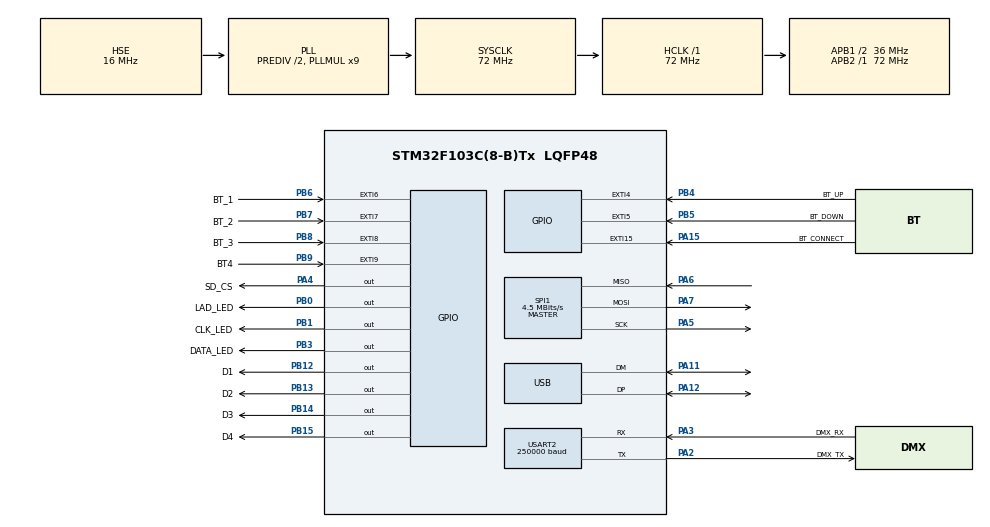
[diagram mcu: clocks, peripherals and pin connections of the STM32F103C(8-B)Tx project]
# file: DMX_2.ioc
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FATFS._MAX_SS=4096
FATFS._USE_LFN=1
Mcu.Family=STM32F1
Mcu.Name=STM32F103C(8-B)Tx
Mcu.Package=LQFP48
NVIC.EXTI15_10_IRQn=true\:0\:0\:false\:false\:true\:true\:true\:true
NVIC.EXTI4_IRQn=true\:1\:0\:true\:false\:true\:true\:true\:true
NVIC.EXTI9_5_IRQn=true\:1\:0\:true\:false\:true\:true\:true\:true
NVIC.PriorityGroup=NVIC_PRIORITYGROUP_4
NVIC.TIM2_IRQn=true\:0\:0\:false\:false\:true\:true\:true\:true
NVIC.USB_LP_CAN1_RX0_IRQn=true\:0\:0\:false\:false\:true\:false\:true\:true
PA11.Mode=Device
PA11.Signal=USB_DM
PA12.Mode=Device
PA12.Signal=USB_DP
PA13.Mode=Serial_Wire
PA13.Signal=SYS_JTMS-SWDIO
PA14.Mode=Serial_Wire
PA14.Signal=SYS_JTCK-SWCLK
PA15.GPIO_Label=BT_CONNECT
PA15.GPIO_ModeDefaultEXTI=GPIO_MODE_IT_FALLING
PA15.GPIO_PuPd=GPIO_PULLUP
PA15.Signal=GPXTI15
PA2.GPIO_Label=DMX_TX
PA2.Mode=Asynchronous
PA2.Signal=USART2_TX
PA3.GPIO_Label=DMX_RX
PA3.Mode=Asynchronous
PA3.Signal=USART2_RX
PA4.GPIO_Label=SD_CS
PA4.Signal=GPIO_Output
PA5.Mode=Full_Duplex_Master
PA5.Signal=SPI1_SCK
PA6.Mode=Full_Duplex_Master
PA6.Signal=SPI1_MISO
PA7.Mode=Full_Duplex_Master
PA7.Signal=SPI1_MOSI
PB0.GPIO_Label=LAD_LED
PB0.Signal=GPIO_Output
PB1.GPIO_Label=CLK_LED
PB1.Signal=GPIO_Output
PB12.GPIO_Label=D1
PB12.Signal=GPIO_Output
PB13.GPIO_Label=D2
PB13.Signal=GPIO_Output
PB14.GPIO_Label=D3
PB14.Signal=GPIO_Output
PB15.GPIO_Label=D4
PB15.Signal=GPIO_Output
PB3.GPIO_Label=DATA_LED
PB3.Signal=GPIO_Output
PB4.GPIO_Label=BT_UP
PB4.GPIO_ModeDefaultEXTI=GPIO_MODE_IT_FALLING
PB4.GPIO_PuPd=GPIO_PULLUP
PB4.Signal=GPXTI4
PB5.GPIO_Label=BT_DOWN
PB5.GPIO_ModeDefaultEXTI=GPIO_MODE_IT_FALLING
PB5.GPIO_PuPd=GPIO_PULLUP
PB5.Signal=GPXTI5
PB6.GPIO_Label=BT_1
PB6.GPIO_ModeDefaultEXTI=GPIO_MODE_IT_FALLING
PB6.GPIO_PuPd=GPIO_PULLUP
PB6.Signal=GPXTI6
PB7.GPIO_Label=BT_2
PB7.GPIO_ModeDefaultEXTI=GPIO_MODE_IT_FALLING
PB7.GPIO_PuPd=GPIO_PULLUP
PB7.Signal=GPXTI7
PB8.GPIO_Label=BT_3
PB8.GPIO_ModeDefaultEXTI=GPIO_MODE_IT_FALLING
PB8.GPIO_PuPd=GPIO_PULLUP
PB8.Signal=GPXTI8
PB9.GPIO_Label=BT4
PB9.GPIO_ModeDefaultEXTI=GPIO_MODE_IT_FALLING
PB9.GPIO_PuPd=GPIO_PULLUP
PB9.Signal=GPXTI9
PD0-OSC_IN.Mode=HSE-External-Oscillator
PD0-OSC_IN.Signal=RCC_OSC_IN
PD1-OSC_OUT.Mode=HSE-External-Oscillator
PD1-OSC_OUT.Signal=RCC_OSC_OUT
ProjectManager.HeapSize=0x200
ProjectManager.StackSize=0x400
ProjectManager.TargetToolchain=MDK-ARM V5.32
RCC.AHBFreq_Value=72000000
RCC.APB1CLKDivider=RCC_HCLK_DIV2
RCC.APB1Freq_Value=36000000
RCC.APB1TimFreq_Value=72000000
RCC.APB2Freq_Value=72000000
RCC.APB2TimFreq_Value=72000000
RCC.HCLKFreq_Value=72000000
RCC.HSEDivPLL=RCC_HSE_PREDIV_DIV2
RCC.HSE_VALUE=16000000
RCC.PLLMUL=RCC_PLL_MUL9
RCC.PLLSourceVirtual=RCC_PLLSOURCE_HSE
RCC.SYSCLKFreq_VALUE=72000000
RCC.SYSCLKSource=RCC_SYSCLKSOURCE_PLLCLK
RCC.USBFreq_Value=48000000
RCC.USBPrescaler=RCC_USBCLKSOURCE_PLL_DIV1_5
SPI1.BaudRatePrescaler=SPI_BAUDRATEPRESCALER_16
SPI1.CalculateBaudRate=4.5 MBits/s
SPI1.Direction=SPI_DIRECTION_2LINES
SPI1.Mode=SPI_MODE_MASTER
SPI1.VirtualType=VM_MASTER
TIM2.Period=20
TIM2.Prescaler=3600
TIM4.Period=0xffff-1
TIM4.Prescaler=72-1
USART2.BaudRate=250000
USART2.VirtualMode=VM_ASYNC
USB_DEVICE.APP_RX_DATA_SIZE=1024
USB_DEVICE.APP_TX_DATA_SIZE=1024
USB_DEVICE.CLASS_NAME_FS=CDC
USB_DEVICE.MANUFACTURER_STRING=NXP SEMICOND 
USB_DEVICE.PRODUCT_STRING_CDC_FS=NXP LPC11Uxx VCOM
USB_DEVICE.VirtualMode=Cdc
USB_DEVICE.VirtualModeFS=Cdc_FS
VP_FATFS_VS_Generic.Mode=User_defined
VP_TIM2_VS_ClockSourceINT.Mode=Internal
VP_TIM4_VS_ClockSourceINT.Mode=Internal
VP_USB_DEVICE_VS_USB_DEVICE_CDC_FS.Mode=CDC_FS
board=custom

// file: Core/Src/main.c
/* USER CODE BEGIN Header */
/**
  ******************************************************************************
  * @file           : main.c
  * @brief          : Main program body
  ******************************************************************************
  * @attention
  *
  * Copyright (c) 2023 STMicroelectronics.
  * All rights reserved.
  *
  * This software is licensed under terms that can be found in the LICENSE file
  * in the root directory of this software component.
  * If no LICENSE file comes with this software, it is provided AS-IS.
  *
  ******************************************************************************
  */
/* USER CODE END Header */
#include "main.h"
#include "fatfs.h"
#include "usb_device.h"

/* USER CODE BEGIN Includes */
#include "fatfs_sd.h"
#include "DMX512.h"
#include "usbd_cdc_if.h"
#include "74hc595.h"
#include <string.h>
#include <stdio.h>
/* USER CODE END Includes */

/* USER CODE BEGIN PTD */
typedef enum e_leddigit { P = 10,C = 11,S = 12,D = 13}led7_e;
extern uint8_t dmxData[513];
uint8_t dmxdata[512] = { 0 };
static uint8_t connect = 0;
static uint8_t index = 0;
const TCHAR file_name[5][10] = {"Show1.txt","Show2.txt","Show3.txt","Show4.txt","Show5.txt"};
/* USER CODE END PTD */

/* USER CODE BEGIN PD */
FATFS fs;
FIL fil;
FRESULT fresult;

/* USER CODE END PD */

SPI_HandleTypeDef hspi1;

TIM_HandleTypeDef htim2;
TIM_HandleTypeDef htim4;

UART_HandleTypeDef huart2;

/* USER CODE BEGIN PV */
uint32_t Counter = 0;
extern uint8_t USB_ARR[];
int		ma7doan[]={0xc0,0xf9,0xa4,0xb0,0x99,0x92,0x82,0xf8,0x80,0x90,0xff,0xcf,0x9e,0x5b,0xc0};
unsigned int t,led1,led2;
/* USER CODE END PV */

void SystemClock_Config(void);
static void MX_GPIO_Init(void);
static void MX_TIM2_Init(void);
static void MX_USART2_UART_Init(void);
static void MX_TIM4_Init(void);
static void MX_SPI1_Init(void);
/* USER CODE BEGIN PFP */
void xuat_595(unsigned int  tt);
void HAL_TIM_PeriodElapsedCallback(TIM_HandleTypeDef *htim);
void ScanLed(uint8_t num,uint8_t chanel);

/* USER CODE END PFP */

/* USER CODE BEGIN 0 */
void send_uart(char* c){
	uint8_t len = strlen(c);
	HAL_UART_Transmit(&huart2,(uint8_t*)c,len,100);
}

//void shift_led(uint8_t data){
//	uint8_t temp;
//	HAL_GPIO_WritePin(GPIOB,LAD_LED_Pin,0);
//	for(int i =0;i<8;i++){
//		temp = data&(0x80>>i);
//		if(temp == 0)
//			HAL_GPIO_WritePin(GPIOB,DATA_LED_Pin,0);
//		else
//			HAL_GPIO_WritePin(GPIOB,DATA_LED_Pin,1);
//		HAL_GPIO_WritePin(GPIOB,CLK_LED_Pin,1);
//		HAL_GPIO_WritePin(GPIOB,CLK_LED_Pin,0);
//	}
//	HAL_GPIO_WritePin(GPIOB,LAD_LED_Pin,1);
//}

//void SD_Mode(TCHAR* file_name){
//		char line[1200]; // M?ng kн t? d? luu t?ng dтng
//    char* token;
//		uint16_t i1 = 0;
//
//		f_mount(&fs, "", 0);
//		fresult = f_open(&fil, file_name, FA_READ);
//		if (fresult == FR_OK)send_uart("connected\n");
//	/* Read data from the file
//	 * Please see the function details for the arguments
//	*/
//		while (f_gets(line, sizeof(line), &fil)) { // Р?c t?ng dтng t? file cho d?n khi h?t file
//        for (int i = 0; i < 512;i++) {
//            dmxdata[i] = 0;
//        }
//				hold_time = 0;
//        token = strtok(line, ",");// G?i hаm strtok() l?n d?u tiкn v?i chu?i vа kн t? phвn cбch lа d?u ph?y
//        while ((token != NULL))  // L?p l?i cho d?n khi khфng cтn ph?n nаo n?a
//        {
//						if(i1<512)
//								dmxdata[i1] = atoi(token);
//						else if(i1 == 512 )
//								hold_time = atoi(token);
//						else
//							break;
//						i1++;
//						token = strtok(NULL, ","); // G?i hаm strtok() ti?p theo v?i tham s? d?u tiкn lа NULL
//						 // G?i hаm strtok() ti?p theo v?i tham s? d?u tiкn lа NULL
//        }
//				i1 = 0;
//				DMX_Send_Packet(dmxdata);
//				delay_ms(hold_time);
//    }
//		f_close(&fil);
//}
/* USER CODE END 0 */

int main(void)
{

  /* MCU Configuration--------------------------------------------------------*/

  /* Reset of all peripherals, Initializes the Flash interface and the Systick. */
  HAL_Init();

  /* Configure the system clock */
  SystemClock_Config();

  /* USER CODE BEGIN SysInit */
//	HAL_TIM_Base_Start_IT(&htim2);
  /* USER CODE END SysInit */

  /* Initialize all configured peripherals */
  MX_GPIO_Init();
  MX_TIM2_Init();
  MX_USB_DEVICE_Init();
  MX_USART2_UART_Init();
  MX_FATFS_Init();
  MX_TIM4_Init();
  MX_SPI1_Init();
  /* USER CODE BEGIN 2 */
	HAL_TIM_Base_Start(&htim4);

  /* USER CODE END 2 */

  /* Infinite loop */
  /* USER CODE BEGIN WHILE */

  while (1)
  {
		if(connect == 1){
			for(int i = 0; i<512;i++){

				dmxData[i] = USB_ARR[i];
			}
			DMX_Send_Packet(dmxData);
			delay_us(100);
		}
		else{
			char line[1200]; // M?ng kн t? d? luu t?ng dтng
			char data[512] = {0};
			char* token;
			uint16_t i1 = 0;
			uint16_t hold_time;
			f_mount(&fs, "", 0);
			fresult = f_open(&fil,file_name[index], FA_READ);
			if (fresult == FR_OK)send_uart("connected\n");
			while (f_gets(line, sizeof(line), &fil)) { // Р?c t?ng dтng t? file cho d?n khi h?t file
					for (int i = 0; i < 512;i++) {
							dmxData[i] = 0;
					}
					hold_time = 0;
					token = strtok(line, ",");// G?i hаm strtok() l?n d?u tiкn v?i chu?i vа kн t? phвn cбch lа d?u ph?y
					while ((token != NULL))  // L?p l?i cho d?n khi khфng cтn ph?n nаo n?a
					{
							if(i1<512)
									dmxData[i1] = atoi(token);
							else if(i1 == 512 )
									hold_time = atoi(token);
							else
								break;
							i1++;
							token = strtok(NULL, ","); // G?i hаm strtok() ti?p theo v?i tham s? d?u tiкn lа NULL
							 // G?i hаm strtok() ti?p theo v?i tham s? d?u tiкn lа NULL
					}
					i1 = 0;
					DMX_Send_Packet(dmxData);
					delay_ms(hold_time);
			}
			f_close(&fil);
		}
//			char line[1200]; // M?ng kн t? d? luu t?ng dтng
//    char data[512] = {0};
//    char* token;
//		uint16_t i1 = 0;
//		uint16_t hold_time;
//		f_mount(&fs, "", 0);
//		fresult = f_open(&fil, file_name, FA_READ);
//		if (fresult == FR_OK)send_uart("connected\n");

//	/* Read data from the file
//	 * Please see the function details for the arguments
//	*/
//		while (f_gets(line, sizeof(line), &fil)) { // Р?c t?ng dтng t? file cho d?n khi h?t file
//        for (int i = 0; i < 512;i++) {
//            dmxdata[i] = 0;
//        }
//				hold_time = 0;
//        token = strtok(line, ",");// G?i hаm strtok() l?n d?u tiкn v?i chu?i vа kн t? phвn cбch lа d?u ph?y
//        while ((token != NULL))  // L?p l?i cho d?n khi khфng cтn ph?n nаo n?a
//        {
//						if(i1<512)
//								dmxdata[i1] = atoi(token);
//						else if(i1 == 512 )
//								hold_time = atoi(token);
//						else
//							break;
//						i1++;
//						token = strtok(NULL, ","); // G?i hаm strtok() ti?p theo v?i tham s? d?u tiкn lа NULL
//						 // G?i hаm strtok() ti?p theo v?i tham s? d?u tiкn lа NULL
//        }
//				i1 = 0;
//				DMX_Send_Packet(dmxdata);
//				delay_ms(hold_time);
//    }
//		f_close(&fil);
//			for(int i = 0; i<512;i++){
//				dmxData[i] = USB_ARR[i];
//			}
//			DMX_Send_Packet(dmxData);

    /* USER CODE END WHILE */

  }
}

void SystemClock_Config(void)
{
  RCC_OscInitTypeDef RCC_OscInitStruct = {0};
  RCC_ClkInitTypeDef RCC_ClkInitStruct = {0};
  RCC_PeriphCLKInitTypeDef PeriphClkInit = {0};

  /** Initializes the RCC Oscillators according to the specified parameters
  * in the RCC_OscInitTypeDef structure.
  */
  RCC_OscInitStruct.OscillatorType = RCC_OSCILLATORTYPE_HSE;
  RCC_OscInitStruct.HSEState = RCC_HSE_ON;
  RCC_OscInitStruct.HSEPredivValue = RCC_HSE_PREDIV_DIV2;
  RCC_OscInitStruct.HSIState = RCC_HSI_ON;
  RCC_OscInitStruct.PLL.PLLState = RCC_PLL_ON;
  RCC_OscInitStruct.PLL.PLLSource = RCC_PLLSOURCE_HSE;
  RCC_OscInitStruct.PLL.PLLMUL = RCC_PLL_MUL9;
  if (HAL_RCC_OscConfig(&RCC_OscInitStruct) != HAL_OK)
  {
    Error_Handler();
  }

  /** Initializes the CPU, AHB and APB buses clocks
  */
  RCC_ClkInitStruct.ClockType = RCC_CLOCKTYPE_HCLK|RCC_CLOCKTYPE_SYSCLK
                              |RCC_CLOCKTYPE_PCLK1|RCC_CLOCKTYPE_PCLK2;
  RCC_ClkInitStruct.SYSCLKSource = RCC_SYSCLKSOURCE_PLLCLK;
  RCC_ClkInitStruct.AHBCLKDivider = RCC_SYSCLK_DIV1;
  RCC_ClkInitStruct.APB1CLKDivider = RCC_HCLK_DIV2;
  RCC_ClkInitStruct.APB2CLKDivider = RCC_HCLK_DIV1;

  if (HAL_RCC_ClockConfig(&RCC_ClkInitStruct, FLASH_LATENCY_2) != HAL_OK)
  {
    Error_Handler();
  }
  PeriphClkInit.PeriphClockSelection = RCC_PERIPHCLK_USB;
  PeriphClkInit.UsbClockSelection = RCC_USBCLKSOURCE_PLL_DIV1_5;
  if (HAL_RCCEx_PeriphCLKConfig(&PeriphClkInit) != HAL_OK)
  {
    Error_Handler();
  }
}

static void MX_SPI1_Init(void)
{

  /* SPI1 parameter configuration*/
  hspi1.Instance = SPI1;
  hspi1.Init.Mode = SPI_MODE_MASTER;
  hspi1.Init.Direction = SPI_DIRECTION_2LINES;
  hspi1.Init.DataSize = SPI_DATASIZE_8BIT;
  hspi1.Init.CLKPolarity = SPI_POLARITY_LOW;
  hspi1.Init.CLKPhase = SPI_PHASE_1EDGE;
  hspi1.Init.NSS = SPI_NSS_SOFT;
  hspi1.Init.BaudRatePrescaler = SPI_BAUDRATEPRESCALER_16;
  hspi1.Init.FirstBit = SPI_FIRSTBIT_MSB;
  hspi1.Init.TIMode = SPI_TIMODE_DISABLE;
  hspi1.Init.CRCCalculation = SPI_CRCCALCULATION_DISABLE;
  hspi1.Init.CRCPolynomial = 10;
  if (HAL_SPI_Init(&hspi1) != HAL_OK)
  {
    Error_Handler();
  }

}

static void MX_TIM2_Init(void)
{

  TIM_ClockConfigTypeDef sClockSourceConfig = {0};
  TIM_MasterConfigTypeDef sMasterConfig = {0};

  htim2.Instance = TIM2;
  htim2.Init.Prescaler = 3600;
  htim2.Init.CounterMode = TIM_COUNTERMODE_UP;
  htim2.Init.Period = 20;
  htim2.Init.ClockDivision = TIM_CLOCKDIVISION_DIV1;
  htim2.Init.AutoReloadPreload = TIM_AUTORELOAD_PRELOAD_DISABLE;
  if (HAL_TIM_Base_Init(&htim2) != HAL_OK)
  {
    Error_Handler();
  }
  sClockSourceConfig.ClockSource = TIM_CLOCKSOURCE_INTERNAL;
  if (HAL_TIM_ConfigClockSource(&htim2, &sClockSourceConfig) != HAL_OK)
  {
    Error_Handler();
  }
  sMasterConfig.MasterOutputTrigger = TIM_TRGO_RESET;
  sMasterConfig.MasterSlaveMode = TIM_MASTERSLAVEMODE_DISABLE;
  if (HAL_TIMEx_MasterConfigSynchronization(&htim2, &sMasterConfig) != HAL_OK)
  {
    Error_Handler();
  }

}

static void MX_TIM4_Init(void)
{

  TIM_ClockConfigTypeDef sClockSourceConfig = {0};
  TIM_MasterConfigTypeDef sMasterConfig = {0};

  htim4.Instance = TIM4;
  htim4.Init.Prescaler = 72-1;
  htim4.Init.CounterMode = TIM_COUNTERMODE_UP;
  htim4.Init.Period = 0xffff-1;
  htim4.Init.ClockDivision = TIM_CLOCKDIVISION_DIV1;
  htim4.Init.AutoReloadPreload = TIM_AUTORELOAD_PRELOAD_DISABLE;
  if (HAL_TIM_Base_Init(&htim4) != HAL_OK)
  {
    Error_Handler();
  }
  sClockSourceConfig.ClockSource = TIM_CLOCKSOURCE_INTERNAL;
  if (HAL_TIM_ConfigClockSource(&htim4, &sClockSourceConfig) != HAL_OK)
  {
    Error_Handler();
  }
  sMasterConfig.MasterOutputTrigger = TIM_TRGO_RESET;
  sMasterConfig.MasterSlaveMode = TIM_MASTERSLAVEMODE_DISABLE;
  if (HAL_TIMEx_MasterConfigSynchronization(&htim4, &sMasterConfig) != HAL_OK)
  {
    Error_Handler();
  }

}

static void MX_USART2_UART_Init(void)
{

  huart2.Instance = USART2;
  huart2.Init.BaudRate = 250000;
  huart2.Init.WordLength = UART_WORDLENGTH_8B;
  huart2.Init.StopBits = UART_STOPBITS_1;
  huart2.Init.Parity = UART_PARITY_NONE;
  huart2.Init.Mode = UART_MODE_TX_RX;
  huart2.Init.HwFlowCtl = UART_HWCONTROL_NONE;
  huart2.Init.OverSampling = UART_OVERSAMPLING_16;
  if (HAL_UART_Init(&huart2) != HAL_OK)
  {
    Error_Handler();
  }

}

static void MX_GPIO_Init(void)
{
  GPIO_InitTypeDef GPIO_InitStruct = {0};

  /* GPIO Ports Clock Enable */
  __HAL_RCC_GPIOD_CLK_ENABLE();
  __HAL_RCC_GPIOA_CLK_ENABLE();
  __HAL_RCC_GPIOB_CLK_ENABLE();

  /*Configure GPIO pin Output Level */
  HAL_GPIO_WritePin(SD_CS_GPIO_Port, SD_CS_Pin, GPIO_PIN_RESET);

  /*Configure GPIO pin Output Level */
  HAL_GPIO_WritePin(GPIOB, LAD_LED_Pin|CLK_LED_Pin|D1_Pin|D2_Pin
                          |D3_Pin|D4_Pin|DATA_LED_Pin, GPIO_PIN_RESET);

  /*Configure GPIO pin : SD_CS_Pin */
  GPIO_InitStruct.Pin = SD_CS_Pin;
  GPIO_InitStruct.Mode = GPIO_MODE_OUTPUT_PP;
  GPIO_InitStruct.Pull = GPIO_NOPULL;
  GPIO_InitStruct.Speed = GPIO_SPEED_FREQ_LOW;
  HAL_GPIO_Init(SD_CS_GPIO_Port, &GPIO_InitStruct);

  /*Configure GPIO pins : LAD_LED_Pin CLK_LED_Pin D1_Pin D2_Pin
                           D3_Pin D4_Pin DATA_LED_Pin */
  GPIO_InitStruct.Pin = LAD_LED_Pin|CLK_LED_Pin|D1_Pin|D2_Pin
                          |D3_Pin|D4_Pin|DATA_LED_Pin;
  GPIO_InitStruct.Mode = GPIO_MODE_OUTPUT_PP;
  GPIO_InitStruct.Pull = GPIO_NOPULL;
  GPIO_InitStruct.Speed = GPIO_SPEED_FREQ_LOW;
  HAL_GPIO_Init(GPIOB, &GPIO_InitStruct);

  /*Configure GPIO pin : BT_CONNECT_Pin */
  GPIO_InitStruct.Pin = BT_CONNECT_Pin;
  GPIO_InitStruct.Mode = GPIO_MODE_IT_FALLING;
  GPIO_InitStruct.Pull = GPIO_PULLUP;
  HAL_GPIO_Init(BT_CONNECT_GPIO_Port, &GPIO_InitStruct);

  /*Configure GPIO pins : BT_UP_Pin BT_DOWN_Pin BT_1_Pin BT_2_Pin
                           BT_3_Pin BT4_Pin */
  GPIO_InitStruct.Pin = BT_UP_Pin|BT_DOWN_Pin|BT_1_Pin|BT_2_Pin
                          |BT_3_Pin|BT4_Pin;
  GPIO_InitStruct.Mode = GPIO_MODE_IT_FALLING;
  GPIO_InitStruct.Pull = GPIO_PULLUP;
  HAL_GPIO_Init(GPIOB, &GPIO_InitStruct);

  /* EXTI interrupt init*/
  HAL_NVIC_SetPriority(EXTI4_IRQn, 1, 0);
  HAL_NVIC_EnableIRQ(EXTI4_IRQn);

  HAL_NVIC_SetPriority(EXTI9_5_IRQn, 1, 0);
  HAL_NVIC_EnableIRQ(EXTI9_5_IRQn);

  HAL_NVIC_SetPriority(EXTI15_10_IRQn, 0, 0);
  HAL_NVIC_EnableIRQ(EXTI15_10_IRQn);

}

/* USER CODE BEGIN 4 */

void delay_us(uint32_t us){
	 __HAL_TIM_SET_COUNTER(&htim4,0);  // set the counter value a 0
    while (__HAL_TIM_GET_COUNTER(&htim4) < us);
}
void delay_ms(uint32_t ms){
 int i = 0;
 for(i = 0; i < ms; i++)
 {
   delay_us(1000);
 }
}
void HAL_GPIO_EXTI_Callback(uint16_t GPIO_Pin){
		 if(GPIO_Pin == BT_CONNECT_Pin){
				connect++;
				if(connect ==2)
					connect = 0;
		 }
		 else if(GPIO_Pin == BT_UP_Pin){
				index ++;
				if(index ==5)
					index = 0;
		 }
		 else if(GPIO_Pin == BT_1_Pin){
					index = 0;
		 }
		 else if(GPIO_Pin == BT_2_Pin){
					index = 1;
		 }
		 else if(GPIO_Pin == BT_3_Pin){
					index = 2;
		 }
		 else if(GPIO_Pin == BT4_Pin){
					index = 3;
		 }
}
void HAL_TIM_PeriodElapsedCallback(TIM_HandleTypeDef *htim)
{
   if(htim->Instance == htim2.Instance)
 {
   Counter++;
 }
}

void xuat_595(unsigned int  tt)
{
	unsigned int	tam,i;
	tam=tt;
	for(i=0;i<8;i++)			// 100 10100  1000 0000
	{
		if((tam&0x80)==0x80)		HAL_GPIO_WritePin(GPIOB,DATA_LED_Pin,1);
		else										HAL_GPIO_WritePin(GPIOB,DATA_LED_Pin,0);
		HAL_GPIO_WritePin(CLK_LED_GPIO_Port,CLK_LED_Pin,1);			HAL_Delay(1);
		HAL_GPIO_WritePin(CLK_LED_GPIO_Port,CLK_LED_Pin,0);			HAL_Delay(1);
		tam=tam<<1;
	}
}

void ScanLed(uint8_t num,uint8_t chanel){   // chanel (0: SD; 1: PC )
	uint8_t d1,d2,d3,d4;
	unsigned int t1,t2;
	t1 = num/10;
	t2 = num%10;
	switch(chanel){
		case 0:
			if(Counter == 10 ){
				HAL_GPIO_WritePin(D1_GPIO_Port,D1_Pin,0);
				HAL_GPIO_WritePin(D2_GPIO_Port,D2_Pin,1);
				HAL_GPIO_WritePin(D3_GPIO_Port,D2_Pin,1);
				HAL_GPIO_WritePin(D4_GPIO_Port,D4_Pin,1);
				ShiftRegister74HC595_setPin(ma7doan[S],HIGH);
			}
			if(Counter == 20 ){
				HAL_GPIO_WritePin(D1_GPIO_Port,D1_Pin,1);
				HAL_GPIO_WritePin(D2_GPIO_Port,D2_Pin,0);
				HAL_GPIO_WritePin(D3_GPIO_Port,D2_Pin,1);
				HAL_GPIO_WritePin(D4_GPIO_Port,D4_Pin,1);
				ShiftRegister74HC595_setPin(ma7doan[D],HIGH);
			}
			if(Counter == 30 ){
				HAL_GPIO_WritePin(D1_GPIO_Port,D1_Pin,1);
				HAL_GPIO_WritePin(D2_GPIO_Port,D2_Pin,1);
				HAL_GPIO_WritePin(D3_GPIO_Port,D2_Pin,0);
				HAL_GPIO_WritePin(D4_GPIO_Port,D4_Pin,1);
				ShiftRegister74HC595_setPin(ma7doan[t1],HIGH);
			}
			if(Counter == 40 ){
				HAL_GPIO_WritePin(D1_GPIO_Port,D1_Pin,1);
				HAL_GPIO_WritePin(D2_GPIO_Port,D2_Pin,1);
				HAL_GPIO_WritePin(D3_GPIO_Port,D2_Pin,1);
				HAL_GPIO_WritePin(D4_GPIO_Port,D4_Pin,0);
				ShiftRegister74HC595_setPin(ma7doan[t2],HIGH);
			}
			break;
		case 1:
			if(Counter == 10 ){
				HAL_GPIO_WritePin(D1_GPIO_Port,D1_Pin,0);
				HAL_GPIO_WritePin(D2_GPIO_Port,D2_Pin,1);
				HAL_GPIO_WritePin(D3_GPIO_Port,D2_Pin,1);
				HAL_GPIO_WritePin(D4_GPIO_Port,D4_Pin,1);
				ShiftRegister74HC595_setPin(ma7doan[P],HIGH);
			}
			if(Counter == 20 ){
				HAL_GPIO_WritePin(D1_GPIO_Port,D1_Pin,1);
				HAL_GPIO_WritePin(D2_GPIO_Port,D2_Pin,0);
				HAL_GPIO_WritePin(D3_GPIO_Port,D2_Pin,1);
				HAL_GPIO_WritePin(D4_GPIO_Port,D4_Pin,1);
				ShiftRegister74HC595_setPin(ma7doan[C],HIGH);
			}
			if(Counter == 30 ){
				HAL_GPIO_WritePin(D1_GPIO_Port,D1_Pin,1);
				HAL_GPIO_WritePin(D2_GPIO_Port,D2_Pin,1);
				HAL_GPIO_WritePin(D3_GPIO_Port,D2_Pin,0);
				HAL_GPIO_WritePin(D4_GPIO_Port,D4_Pin,1);
				ShiftRegister74HC595_setPin(ma7doan[t1],HIGH);
			}
			if(Counter == 40 ){
				HAL_GPIO_WritePin(D1_GPIO_Port,D1_Pin,1);
				HAL_GPIO_WritePin(D2_GPIO_Port,D2_Pin,1);
				HAL_GPIO_WritePin(D3_GPIO_Port,D2_Pin,1);
				HAL_GPIO_WritePin(D4_GPIO_Port,D4_Pin,0);
				ShiftRegister74HC595_setPin(ma7doan[t2],HIGH);
			}
			break;
	}

}

//void HAL_UART_RxCpltCallback(UART_HandleTypeDef *huart)
//{
// if(huart->Instance == huart2.Instance)
// {
//   HAL_UART_Receive_IT(&huart2, buffer, 200);
// }
//}

/* USER CODE END 4 */

void Error_Handler(void)
{
  __disable_irq();
  while (1)
  {
  }
}
